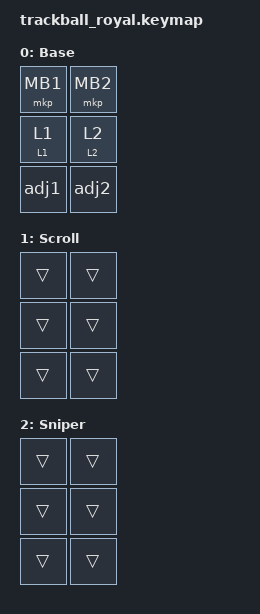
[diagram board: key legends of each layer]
#include "keys_ru.h"
#include <dt-bindings/zmk/input_transform.h>
#include <input/processors.dtsi>
#include <zephyr/dt-bindings/input/input-event-codes.h>
#include <dt-bindings/zmk/matrix_transform.h>
#include <scroll-snap.dtsi>
#include <behaviors.dtsi>
#include <dt-bindings/zmk/bt.h>
#include <dt-bindings/zmk/keys.h>
#include <dt-bindings/zmk/pointing.h>
#include "input/processors/sensor_rotation.dtsi"

/ {
    default_transform: keymap_transform_0 {
        compatible = "zmk,matrix-transform";
        columns = <2>;
        rows = <3>;
        map = <
        RC(0,3) RC(0,2)
        RC(0,0) RC(0,1)
        RC(0,5) RC(0,4)
        >;
    };

    combos {
        compatible = "zmk,combos";

        base_combo {
            bindings = <&mkp MB3>;
            key-positions = <0 1>;
        };

        press-del {
            bindings = <&kp DELETE>;
            key-positions = <2 3>;
            layers = <0>;
        };
    };

    behaviors {
        adj1: adj1 {
            compatible = "zmk,behavior-tap-dance";
            label = "ADJ1";
            #binding-cells = <0>;
            bindings = <&bt BT_SEL 0>, <&bt BT_CLR>;
        };

        adj2: adj2 {
            compatible = "zmk,behavior-tap-dance";
            label = "ADJ2";
            #binding-cells = <0>;
            bindings = <&bt BT_NXT>, <&bt BT_CLR_ALL>;
        };

        scroll_latch: scroll_latch {
            compatible = "zmk,behavior-hold-tap";
            #binding-cells = <2>;
            tapping-term-ms = <200>;
            flavor = "hold-preferred";
            bindings = <&mo>, <&tog>;
        };

        sniper_latch: sniper_latch {
            compatible = "zmk,behavior-hold-tap";
            #binding-cells = <2>;
            tapping-term-ms = <200>;
            flavor = "hold-preferred";
            bindings = <&mo>, <&tog>;
        };
    };

    macros {
        dbl_click: dbl_click {
            compatible = "zmk,behavior-macro";
            #binding-cells = <0>;
            wait-ms = <40>;
            tap-ms = <20>;
            bindings = <&mkp LCLK>, <&mkp LCLK>;
        };

        drag_on: drag_on {
            compatible = "zmk,behavior-macro";
            #binding-cells = <0>;
            bindings = <&macro_press &mkp LCLK>;
        };

        drag_off: drag_off {
            compatible = "zmk,behavior-macro";
            #binding-cells = <0>;
            bindings = <&macro_release &mkp LCLK>;
        };
    };

    keymap {
        compatible = "zmk,keymap";

        base {
            bindings = <
&mkp MB1  &mkp MB2
&scroll_latch 1 1    &sniper_latch 2 2
&adj1     &adj2
            >;

            display-name = "Base";
        };

        scroll {
            bindings = <
&trans  &trans
&trans  &trans
&trans  &trans
            >;

            display-name = "Scroll";
        };

        sniper {
            bindings = <
&trans  &trans
&trans  &trans
&trans  &trans
            >;

            display-name = "Sniper";
        };
    };

    input_processors {
        sensor_rotation: sensor_rotation {
            compatible = "zmk,input-processor-sensor-rotation";
            status = "okay";
            #input-processor-cells = <0>;
            rotation-angle = <5>;
        };
    };
};

&trackball { cpi = <800>; };

&trackball_listener {
    input-processors =
        <&sensor_rotation>,
        <&zip_x_scaler 1 1>,
        <&zip_y_scaler 1 2>;

    scroller {
        layers = <1>;
        input-processors =
            <&zip_xy_transform INPUT_TRANSFORM_Y_INVERT>,
            <&zip_xy_scaler 1 8>,
            <&zip_xy_to_scroll_mapper>;
    };

    sniper {
        layers = <2>;
        input-processors = <&zip_xy_scaler 3 8>;
    };

    adjust {
        layers = <3>;
        input-processors = <&zip_xy_scaler 1 8>;
    };
};
